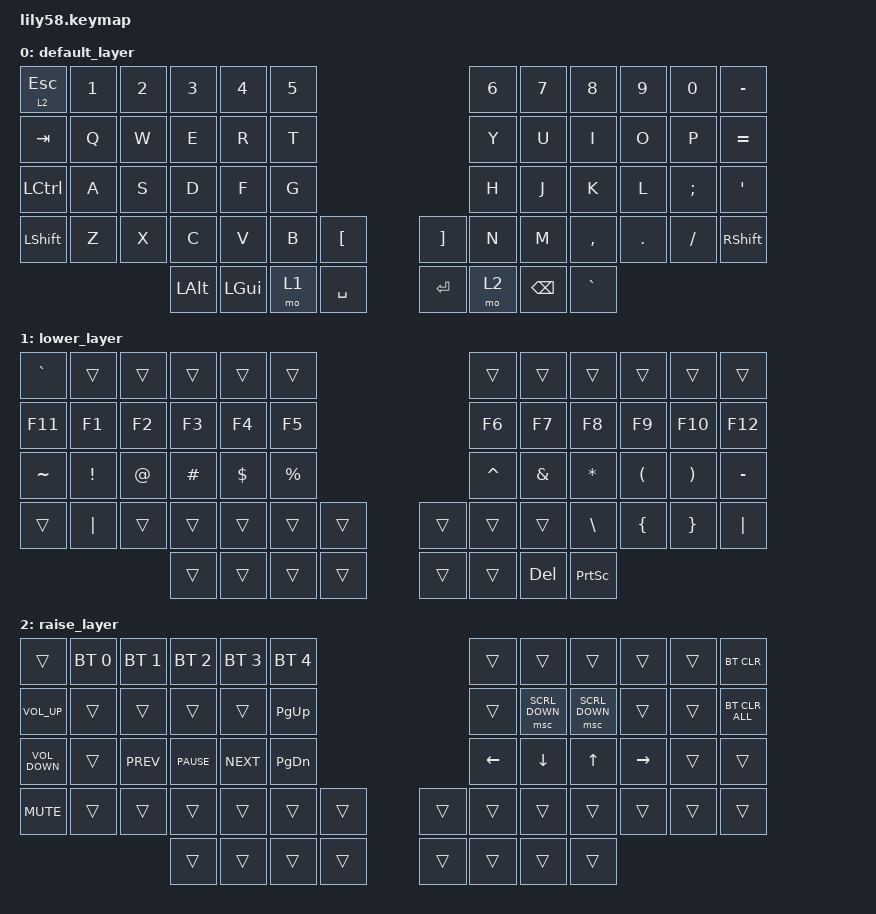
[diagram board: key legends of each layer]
/*
 * Copyright (c) 2020 The ZMK Contributors
 *
 * SPDX-License-Identifier: MIT
 */

#include <behaviors.dtsi>
#include <dt-bindings/zmk/bt.h>
#include <dt-bindings/zmk/keys.h>
#include <dt-bindings/zmk/pointing.h>

/ {
    keymap {
        compatible = "zmk,keymap";

        default_layer {
            // ------------------------------------------------------------------------------------------------------------
            // |  ESC  |  1  |  2  |  3   |  4   |  5   |                   |  6   |  7    |  8    |  9   |   0   |   `   |
            // |  TAB  |  Q  |  W  |  E   |  R   |  T   |                   |  Y   |  U    |  I    |  O   |   P   |   -   |
            // |  CTRL |  A  |  S  |  D   |  F   |  G   |                   |  H   |  J    |  K    |  L   |   ;   |   '   |
            // | SHIFT |  Z  |  X  |  C   |  V   |  B   |   "["  |  |  "]"  |  N   |  M    |  ,    |  .   |   /   | SHIFT |
            //                     | ALT  | GUI  | LOWER|  SPACE |  | ENTER | RAISE| BSPC  | GUI   |

            bindings = <
&lt 2 ESC  &kp N1  &kp N2  &kp N3    &kp N4    &kp N5                                 &kp N6  &kp N7    &kp N8     &kp N9   &kp N0     &kp MINUS
&kp TAB    &kp Q   &kp W   &kp E     &kp R     &kp T                                  &kp Y   &kp U     &kp I      &kp O    &kp P      &kp EQUAL
&kp LCTRL  &kp A   &kp S   &kp D     &kp F     &kp G                                  &kp H   &kp J     &kp K      &kp L    &kp SEMI   &kp SQT
&kp LSHFT  &kp Z   &kp X   &kp C     &kp V     &kp B   &kp LEFT_BRACKET    &kp RBKT   &kp N   &kp M     &kp COMMA  &kp DOT  &kp SLASH  &kp RSHFT
                           &kp LALT  &kp LGUI  &mo 1   &kp SPACE           &kp ENTER  &mo 2   &kp BSPC  &kp GRAVE
            >;
        };

        lower_layer {
            // ------------------------------------------------------------------------------------------------------------
            // | BTCLR | BT1 | BT2 |  BT3 |  BT4 |  BT5 |                   |      |       |       |      |       |       |
            // |  F1   |  F2 |  F3 |  F4  |  F5  |  F6  |                   |  F7  |  F8   |  F9   |  F10 |  F11  |  F12  |
            // |   `   |  !  |  @  |  #   |  $   |  %   |                   |  ^   |  &    |  *    |  (   |   )   |   ~   |
            // |       |     |     |      |      |      |        |  |       |      |  _    |  +    |  {   |   }   |  "|"  |
            //                     |      |      |      |        |  |       |      |       |       |

            bindings = <
&kp GRAVE  &trans    &trans  &trans    &trans      &trans                       &trans     &trans      &trans           &trans    &trans    &trans
&kp F11    &kp F1    &kp F2  &kp F3    &kp F4      &kp F5                       &kp F6     &kp F7      &kp F8           &kp F9    &kp F10   &kp F12
&kp TILDE  &kp EXCL  &kp AT  &kp HASH  &kp DOLLAR  &kp PRCNT                    &kp CARET  &kp AMPS    &kp ASTRK        &kp LPAR  &kp RPAR  &kp MINUS
&trans     &kp PIPE  &trans  &trans    &trans      &trans     &trans    &trans  &trans     &trans      &kp BACKSLASH    &kp LBRC  &kp RBRC  &kp PIPE
                             &trans    &trans      &trans     &trans    &trans  &trans     &kp DELETE  &kp PRINTSCREEN
            >;
        };

        raise_layer {
            // ------------------------------------------------------------------------------------------------------------
            // |       |     |     |      |      |      |                   |      |       |       |      |       |       |
            // |   `   |  1  |  2  |  3   |  4   |  5   |                   |  6   |   7   |   8   |  9   |   0   |       |
            // |   F1  |  F2 |  F3 |  F4  |  F5  |  F6  |                   |      |   <-  |   v   |  ^   |  ->   |       |
            // |   F7  |  F8 |  F9 |  F10 |  F11 |  F12 |        |  |       |  +   |   -   |   =   |  [   |   ]   |   \   |
            //                     |      |      |      |        |  |       |      |       |       |

            bindings = <
&trans             &bt BT_SEL 0  &bt BT_SEL 1  &bt BT_SEL 2  &bt BT_SEL 3  &bt BT_SEL 4                     &trans    &trans          &trans          &trans     &trans  &bt BT_CLR
&kp C_VOLUME_UP    &trans        &trans        &trans        &trans        &kp PAGE_UP                      &trans    &msc SCRL_DOWN  &msc SCRL_DOWN  &trans     &trans  &bt BT_CLR_ALL
&kp C_VOLUME_DOWN  &trans        &kp C_PREV    &kp C_PAUSE   &kp C_NEXT    &kp PAGE_DOWN                    &kp LEFT  &kp DOWN        &kp UP          &kp RIGHT  &trans  &trans
&kp C_MUTE         &trans        &trans        &trans        &trans        &trans         &trans    &trans  &trans    &trans          &trans          &trans     &trans  &trans
                                               &trans        &trans        &trans         &trans    &trans  &trans    &trans          &trans
            >;
        };
    };
};
